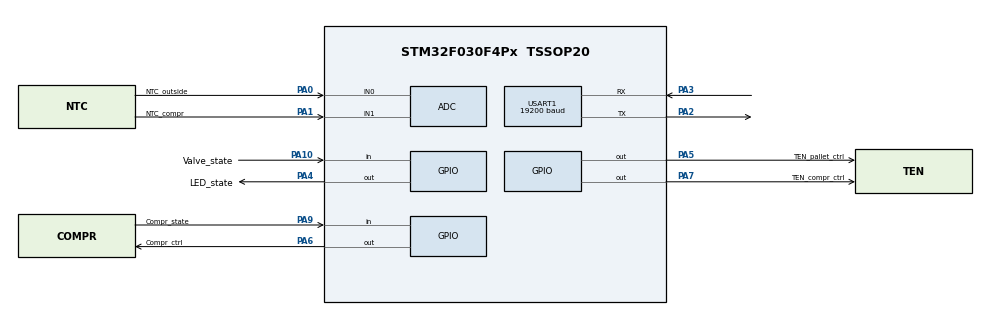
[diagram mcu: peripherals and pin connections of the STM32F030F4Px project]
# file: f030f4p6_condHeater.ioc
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ADC.ClockPrescaler=ADC_CLOCK_SYNC_PCLK_DIV2
ADC.ContinuousConvMode=ENABLE
ADC.DMAContinuousRequests=ENABLE
ADC.EOCSelection=ADC_EOC_SINGLE_CONV
ADC.SamplingTime=ADC_SAMPLETIME_239CYCLES_5
Dma.ADC.0.Direction=DMA_PERIPH_TO_MEMORY
Dma.ADC.0.Instance=DMA1_Channel1
Dma.ADC.0.MemDataAlignment=DMA_MDATAALIGN_HALFWORD
Dma.ADC.0.MemInc=DMA_MINC_ENABLE
Dma.ADC.0.Mode=DMA_CIRCULAR
Dma.ADC.0.PeriphDataAlignment=DMA_PDATAALIGN_HALFWORD
Dma.ADC.0.PeriphInc=DMA_PINC_DISABLE
Dma.ADC.0.Priority=DMA_PRIORITY_HIGH
Dma.Request0=ADC
Mcu.Family=STM32F0
Mcu.Name=STM32F030F4Px
Mcu.Package=TSSOP20
NVIC.ADC1_IRQn=true\:0\:0\:false\:false\:true\:true\:true\:true
NVIC.DMA1_Channel1_IRQn=true\:1\:0\:true\:false\:true\:false\:true\:true
PA0.GPIO_Label=NTC_outside
PA0.Mode=IN0
PA0.Signal=ADC_IN0
PA1.GPIO_Label=NTC_compr
PA1.Mode=IN1
PA1.Signal=ADC_IN1
PA10.GPIO_Label=Valve_state
PA10.Signal=GPIO_Input
PA13.Mode=Serial_Wire
PA13.Signal=SYS_SWDIO
PA14.Mode=Serial_Wire
PA14.Signal=SYS_SWCLK
PA2.Mode=Asynchronous
PA2.Signal=USART1_TX
PA3.Mode=Asynchronous
PA3.Signal=USART1_RX
PA4.GPIO_Label=LED_state
PA4.Signal=GPIO_Output
PA5.GPIO_Label=TEN_pallet_ctrl
PA5.Signal=GPIO_Output
PA6.GPIO_Label=Compr_ctrl
PA6.Signal=GPIO_Output
PA7.GPIO_Label=TEN_compr_ctrl
PA7.Signal=GPIO_Output
PA9.GPIO_Label=Compr_state
PA9.Signal=GPIO_Input
PF0-OSC_IN.Mode=HSE-External-Oscillator
PF0-OSC_IN.Signal=RCC_OSC_IN
PF1-OSC_OUT.Mode=HSE-External-Oscillator
PF1-OSC_OUT.Signal=RCC_OSC_OUT
ProjectManager.HeapSize=0x200
ProjectManager.StackSize=0x400
ProjectManager.TargetToolchain=STM32CubeIDE
RCC.EnbaleCSS=true
RCC.PLLSourceVirtual=RCC_PLLSOURCE_HSE
RCC.SYSCLKSource=RCC_SYSCLKSOURCE_HSE
USART1.BaudRate=19200
USART1.VirtualMode-Asynchronous=VM_ASYNC
board=custom

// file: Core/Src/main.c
/* USER CODE BEGIN Header */
/**
  ******************************************************************************
  * @file           : main.c
  * @brief          : Main program body
  ******************************************************************************
  * @attention
  *
  * Copyright (c) 2025 STMicroelectronics.
  * All rights reserved.
  *
  * This software is licensed under terms that can be found in the LICENSE file
  * in the root directory of this software component.
  * If no LICENSE file comes with this software, it is provided AS-IS.
  *
  ******************************************************************************
  */
/* USER CODE END Header */
#include "main.h"

/* USER CODE BEGIN Includes */
#include "stdlib.h"
#include "stdio.h"
/* USER CODE END Includes */

/* USER CODE BEGIN PV */
unsigned char buffer[50] = {'\0'};
/* Variables for ADC conversion data */
__IO uint16_t ADC_Data[3] = {0};

/* USER CODE END PV */

void SystemClock_Config(void);
static void MX_GPIO_Init(void);
static void MX_DMA_Init(void);
static void MX_ADC_Init(void);
static void MX_USART1_UART_Init(void);
/* USER CODE BEGIN PFP */
void USARTSend(unsigned char *pucBuffer, unsigned long ulCount);
/* USER CODE END PFP */

/* USER CODE BEGIN 0 */

void USARTSend(unsigned char *pucBuffer, unsigned long ulCount)
{
    //
    // Loop while there are more characters to send.
    //
    while(ulCount--)
    {
    	LL_USART_TransmitData8(USART1, *pucBuffer++);
        /* Loop until the end of transmission */
    	while(!LL_USART_IsActiveFlag_TXE(USART1));
    }
}

/* USER CODE END 0 */

int main(void)
{

  /* USER CODE BEGIN 1 */
  __IO uint32_t wait_loop_index = 0;
  /* USER CODE END 1 */

  /* MCU Configuration--------------------------------------------------------*/

  /* Reset of all peripherals, Initializes the Flash interface and the Systick. */
  LL_APB1_GRP2_EnableClock(LL_APB1_GRP2_PERIPH_SYSCFG);
  LL_APB1_GRP1_EnableClock(LL_APB1_GRP1_PERIPH_PWR);

  /* SysTick_IRQn interrupt configuration */
  NVIC_SetPriority(SysTick_IRQn, 3);

  /* Configure the system clock */
  SystemClock_Config();

  /* Initialize all configured peripherals */
  MX_GPIO_Init();
  MX_DMA_Init();
  MX_ADC_Init();
  MX_USART1_UART_Init();
  /* USER CODE BEGIN 2 */
  LL_DMA_ConfigAddresses(DMA1,
                         LL_DMA_CHANNEL_1,
                         LL_ADC_DMA_GetRegAddr(ADC1, LL_ADC_DMA_REG_REGULAR_DATA),
                         (uint32_t)&ADC_Data,
                         LL_DMA_DIRECTION_PERIPH_TO_MEMORY);
  LL_DMA_SetDataLength(DMA1, LL_DMA_CHANNEL_1, 2);
  LL_DMA_EnableIT_TC(DMA1, LL_DMA_CHANNEL_1);
  LL_DMA_EnableIT_TE(DMA1, LL_DMA_CHANNEL_1);
  LL_DMA_EnableChannel(DMA1, LL_DMA_CHANNEL_1);

  LL_ADC_StartCalibration(ADC1);
  while (LL_ADC_IsCalibrationOnGoing(ADC1) != 0) {}
  wait_loop_index = ((LL_ADC_DELAY_CALIB_ENABLE_ADC_CYCLES * 32) >> 1);
  while(wait_loop_index != 0)
  {
    wait_loop_index--;
  }
  LL_ADC_Enable(ADC1);
  LL_ADC_REG_StartConversion(ADC1);

  uint16_t value_in0, value_in1 = 0;
  /* USER CODE END 2 */

  /* Infinite loop */
  /* USER CODE BEGIN WHILE */
  while (1)
  {

	  value_in0 = ADC_Data[0]; // темп. коспрессора
	  value_in1 = ADC_Data[1]; // темп. внешняя

      sprintf(buffer, "Val 1:%d\r\n", value_in0 );
      USARTSend(buffer, sizeof(buffer));

      sprintf(buffer, "Val 2:%d\r\n", value_in1 );
      USARTSend(buffer, sizeof(buffer));

      // логика управления работой компрессора и тена компрессора
      if (LL_GPIO_IsInputPinSet(Compr_state_GPIO_Port, Compr_state_Pin)) // если на входе компрессора - ничего (выс. уровень) -> компр. и тен компр. выключены
      {
    	  LL_GPIO_ResetOutputPin(Compr_ctrl_GPIO_Port, Compr_ctrl_Pin);
    	  LL_GPIO_ResetOutputPin(TEN_compr_ctrl_GPIO_Port, TEN_compr_ctrl_Pin);
      }

      if (!LL_GPIO_IsInputPinSet(Compr_state_GPIO_Port, Compr_state_Pin)) // если на входе компрессора - 220 (низкий уровень)...
      {
    	  if (value_in0 > 2000) // проверяем температуру, если меньше 0 С (ПРОВЕРИТЬ !!!)
    	  {
    		  LL_GPIO_SetOutputPin(TEN_compr_ctrl_GPIO_Port, TEN_compr_ctrl_Pin); // включаем тен, греем компрессор
    		  LL_GPIO_ResetOutputPin(Compr_ctrl_GPIO_Port, Compr_ctrl_Pin);
    	  }
    	  else // компрессор теплый, греть не имеет смысла
    	  {
    		  LL_GPIO_ResetOutputPin(TEN_compr_ctrl_GPIO_Port, TEN_compr_ctrl_Pin); // выключаем тен
    		  LL_GPIO_SetOutputPin(Compr_ctrl_GPIO_Port, Compr_ctrl_Pin); // а компрессор включаем
    	  }
      }

      // логика работы для режима оттайки
      if (LL_GPIO_IsOutputPinSet(Compr_ctrl_GPIO_Port, Compr_ctrl_Pin) && LL_GPIO_IsInputPinSet(Valve_state_GPIO_Port, Valve_state_Pin) && value_in1 > 2000) // включен компрессор, 4х ходовой отключен и температура на улице меньше 0
      {
    	  LL_GPIO_SetOutputPin(TEN_pallet_ctrl_GPIO_Port,TEN_pallet_ctrl_Pin);
      }
      else
      {
    	  LL_GPIO_ResetOutputPin(TEN_pallet_ctrl_GPIO_Port,TEN_pallet_ctrl_Pin);
      }

      //LL_mDelay(500);
    /* USER CODE END WHILE */

  }
}

void SystemClock_Config(void)
{
  LL_FLASH_SetLatency(LL_FLASH_LATENCY_0);
  while(LL_FLASH_GetLatency() != LL_FLASH_LATENCY_0)
  {
  }
  LL_RCC_HSE_Enable();

   /* Wait till HSE is ready */
  while(LL_RCC_HSE_IsReady() != 1)
  {

  }
  LL_RCC_HSE_EnableCSS();
  LL_RCC_SetAHBPrescaler(LL_RCC_SYSCLK_DIV_1);
  LL_RCC_SetAPB1Prescaler(LL_RCC_APB1_DIV_1);
  LL_RCC_SetSysClkSource(LL_RCC_SYS_CLKSOURCE_HSE);

   /* Wait till System clock is ready */
  while(LL_RCC_GetSysClkSource() != LL_RCC_SYS_CLKSOURCE_STATUS_HSE)
  {

  }
  LL_Init1msTick(8000000);
  LL_SetSystemCoreClock(8000000);
  LL_RCC_SetUSARTClockSource(LL_RCC_USART1_CLKSOURCE_PCLK1);
}

static void MX_ADC_Init(void)
{

  LL_ADC_InitTypeDef ADC_InitStruct = {0};
  LL_ADC_REG_InitTypeDef ADC_REG_InitStruct = {0};

  LL_GPIO_InitTypeDef GPIO_InitStruct = {0};

  /* Peripheral clock enable */
  LL_APB1_GRP2_EnableClock(LL_APB1_GRP2_PERIPH_ADC1);

  LL_AHB1_GRP1_EnableClock(LL_AHB1_GRP1_PERIPH_GPIOA);
  /**ADC GPIO Configuration
  PA0   ------> ADC_IN0
  PA1   ------> ADC_IN1
  */
  GPIO_InitStruct.Pin = NTC_outside_Pin;
  GPIO_InitStruct.Mode = LL_GPIO_MODE_ANALOG;
  GPIO_InitStruct.Pull = LL_GPIO_PULL_NO;
  LL_GPIO_Init(NTC_outside_GPIO_Port, &GPIO_InitStruct);

  GPIO_InitStruct.Pin = NTC_compr_Pin;
  GPIO_InitStruct.Mode = LL_GPIO_MODE_ANALOG;
  GPIO_InitStruct.Pull = LL_GPIO_PULL_NO;
  LL_GPIO_Init(NTC_compr_GPIO_Port, &GPIO_InitStruct);

  /* ADC DMA Init */

  /* ADC Init */
  LL_DMA_SetDataTransferDirection(DMA1, LL_DMA_CHANNEL_1, LL_DMA_DIRECTION_PERIPH_TO_MEMORY);

  LL_DMA_SetChannelPriorityLevel(DMA1, LL_DMA_CHANNEL_1, LL_DMA_PRIORITY_HIGH);

  LL_DMA_SetMode(DMA1, LL_DMA_CHANNEL_1, LL_DMA_MODE_CIRCULAR);

  LL_DMA_SetPeriphIncMode(DMA1, LL_DMA_CHANNEL_1, LL_DMA_PERIPH_NOINCREMENT);

  LL_DMA_SetMemoryIncMode(DMA1, LL_DMA_CHANNEL_1, LL_DMA_MEMORY_INCREMENT);

  LL_DMA_SetPeriphSize(DMA1, LL_DMA_CHANNEL_1, LL_DMA_PDATAALIGN_HALFWORD);

  LL_DMA_SetMemorySize(DMA1, LL_DMA_CHANNEL_1, LL_DMA_MDATAALIGN_HALFWORD);

  /* ADC interrupt Init */
  NVIC_SetPriority(ADC1_IRQn, 0);
  NVIC_EnableIRQ(ADC1_IRQn);

  /** Configure Regular Channel
  */
  LL_ADC_REG_SetSequencerChAdd(ADC1, LL_ADC_CHANNEL_0);

  /** Configure Regular Channel
  */
  LL_ADC_REG_SetSequencerChAdd(ADC1, LL_ADC_CHANNEL_1);

  /** Configure the global features of the ADC (Clock, Resolution, Data Alignment and number of conversion)
  */
  ADC_InitStruct.Clock = LL_ADC_CLOCK_SYNC_PCLK_DIV2;
  ADC_InitStruct.Resolution = LL_ADC_RESOLUTION_12B;
  ADC_InitStruct.DataAlignment = LL_ADC_DATA_ALIGN_RIGHT;
  ADC_InitStruct.LowPowerMode = LL_ADC_LP_MODE_NONE;
  LL_ADC_Init(ADC1, &ADC_InitStruct);
  ADC_REG_InitStruct.TriggerSource = LL_ADC_REG_TRIG_SOFTWARE;
  ADC_REG_InitStruct.SequencerDiscont = LL_ADC_REG_SEQ_DISCONT_DISABLE;
  ADC_REG_InitStruct.ContinuousMode = LL_ADC_REG_CONV_CONTINUOUS;
  ADC_REG_InitStruct.DMATransfer = LL_ADC_REG_DMA_TRANSFER_UNLIMITED;
  ADC_REG_InitStruct.Overrun = LL_ADC_REG_OVR_DATA_PRESERVED;
  LL_ADC_REG_Init(ADC1, &ADC_REG_InitStruct);
  LL_ADC_REG_SetSequencerScanDirection(ADC1, LL_ADC_REG_SEQ_SCAN_DIR_FORWARD);
  LL_ADC_SetSamplingTimeCommonChannels(ADC1, LL_ADC_SAMPLINGTIME_239CYCLES_5);

}

static void MX_USART1_UART_Init(void)
{

  LL_USART_InitTypeDef USART_InitStruct = {0};

  LL_GPIO_InitTypeDef GPIO_InitStruct = {0};

  /* Peripheral clock enable */
  LL_APB1_GRP2_EnableClock(LL_APB1_GRP2_PERIPH_USART1);

  LL_AHB1_GRP1_EnableClock(LL_AHB1_GRP1_PERIPH_GPIOA);
  /**USART1 GPIO Configuration
  PA2   ------> USART1_TX
  PA3   ------> USART1_RX
  */
  GPIO_InitStruct.Pin = LL_GPIO_PIN_2;
  GPIO_InitStruct.Mode = LL_GPIO_MODE_ALTERNATE;
  GPIO_InitStruct.Speed = LL_GPIO_SPEED_FREQ_HIGH;
  GPIO_InitStruct.OutputType = LL_GPIO_OUTPUT_PUSHPULL;
  GPIO_InitStruct.Pull = LL_GPIO_PULL_NO;
  GPIO_InitStruct.Alternate = LL_GPIO_AF_1;
  LL_GPIO_Init(GPIOA, &GPIO_InitStruct);

  GPIO_InitStruct.Pin = LL_GPIO_PIN_3;
  GPIO_InitStruct.Mode = LL_GPIO_MODE_ALTERNATE;
  GPIO_InitStruct.Speed = LL_GPIO_SPEED_FREQ_HIGH;
  GPIO_InitStruct.OutputType = LL_GPIO_OUTPUT_PUSHPULL;
  GPIO_InitStruct.Pull = LL_GPIO_PULL_NO;
  GPIO_InitStruct.Alternate = LL_GPIO_AF_1;
  LL_GPIO_Init(GPIOA, &GPIO_InitStruct);

  USART_InitStruct.BaudRate = 19200;
  USART_InitStruct.DataWidth = LL_USART_DATAWIDTH_8B;
  USART_InitStruct.StopBits = LL_USART_STOPBITS_1;
  USART_InitStruct.Parity = LL_USART_PARITY_NONE;
  USART_InitStruct.TransferDirection = LL_USART_DIRECTION_TX_RX;
  USART_InitStruct.HardwareFlowControl = LL_USART_HWCONTROL_NONE;
  USART_InitStruct.OverSampling = LL_USART_OVERSAMPLING_16;
  LL_USART_Init(USART1, &USART_InitStruct);
  LL_USART_DisableIT_CTS(USART1);
  LL_USART_ConfigAsyncMode(USART1);
  LL_USART_Enable(USART1);

}

static void MX_DMA_Init(void)
{

  /* Init with LL driver */
  /* DMA controller clock enable */
  LL_AHB1_GRP1_EnableClock(LL_AHB1_GRP1_PERIPH_DMA1);

  /* DMA interrupt init */
  /* DMA1_Channel1_IRQn interrupt configuration */
  NVIC_SetPriority(DMA1_Channel1_IRQn, 1);
  NVIC_EnableIRQ(DMA1_Channel1_IRQn);

}

static void MX_GPIO_Init(void)
{
  LL_GPIO_InitTypeDef GPIO_InitStruct = {0};

  /* GPIO Ports Clock Enable */
  LL_AHB1_GRP1_EnableClock(LL_AHB1_GRP1_PERIPH_GPIOF);
  LL_AHB1_GRP1_EnableClock(LL_AHB1_GRP1_PERIPH_GPIOA);

  /**/
  LL_GPIO_ResetOutputPin(LED_state_GPIO_Port, LED_state_Pin);

  /**/
  LL_GPIO_ResetOutputPin(TEN_pallet_ctrl_GPIO_Port, TEN_pallet_ctrl_Pin);

  /**/
  LL_GPIO_ResetOutputPin(Compr_ctrl_GPIO_Port, Compr_ctrl_Pin);

  /**/
  LL_GPIO_ResetOutputPin(TEN_compr_ctrl_GPIO_Port, TEN_compr_ctrl_Pin);

  /**/
  GPIO_InitStruct.Pin = LED_state_Pin;
  GPIO_InitStruct.Mode = LL_GPIO_MODE_OUTPUT;
  GPIO_InitStruct.Speed = LL_GPIO_SPEED_FREQ_LOW;
  GPIO_InitStruct.OutputType = LL_GPIO_OUTPUT_PUSHPULL;
  GPIO_InitStruct.Pull = LL_GPIO_PULL_NO;
  LL_GPIO_Init(LED_state_GPIO_Port, &GPIO_InitStruct);

  /**/
  GPIO_InitStruct.Pin = TEN_pallet_ctrl_Pin;
  GPIO_InitStruct.Mode = LL_GPIO_MODE_OUTPUT;
  GPIO_InitStruct.Speed = LL_GPIO_SPEED_FREQ_LOW;
  GPIO_InitStruct.OutputType = LL_GPIO_OUTPUT_PUSHPULL;
  GPIO_InitStruct.Pull = LL_GPIO_PULL_NO;
  LL_GPIO_Init(TEN_pallet_ctrl_GPIO_Port, &GPIO_InitStruct);

  /**/
  GPIO_InitStruct.Pin = Compr_ctrl_Pin;
  GPIO_InitStruct.Mode = LL_GPIO_MODE_OUTPUT;
  GPIO_InitStruct.Speed = LL_GPIO_SPEED_FREQ_LOW;
  GPIO_InitStruct.OutputType = LL_GPIO_OUTPUT_PUSHPULL;
  GPIO_InitStruct.Pull = LL_GPIO_PULL_NO;
  LL_GPIO_Init(Compr_ctrl_GPIO_Port, &GPIO_InitStruct);

  /**/
  GPIO_InitStruct.Pin = TEN_compr_ctrl_Pin;
  GPIO_InitStruct.Mode = LL_GPIO_MODE_OUTPUT;
  GPIO_InitStruct.Speed = LL_GPIO_SPEED_FREQ_LOW;
  GPIO_InitStruct.OutputType = LL_GPIO_OUTPUT_PUSHPULL;
  GPIO_InitStruct.Pull = LL_GPIO_PULL_NO;
  LL_GPIO_Init(TEN_compr_ctrl_GPIO_Port, &GPIO_InitStruct);

  /**/
  GPIO_InitStruct.Pin = Compr_state_Pin;
  GPIO_InitStruct.Mode = LL_GPIO_MODE_INPUT;
  GPIO_InitStruct.Pull = LL_GPIO_PULL_NO;
  LL_GPIO_Init(Compr_state_GPIO_Port, &GPIO_InitStruct);

  /**/
  GPIO_InitStruct.Pin = Valve_state_Pin;
  GPIO_InitStruct.Mode = LL_GPIO_MODE_INPUT;
  GPIO_InitStruct.Pull = LL_GPIO_PULL_NO;
  LL_GPIO_Init(Valve_state_GPIO_Port, &GPIO_InitStruct);

}

void Error_Handler(void)
{
  __disable_irq();
  while (1)
  {
  }
}
